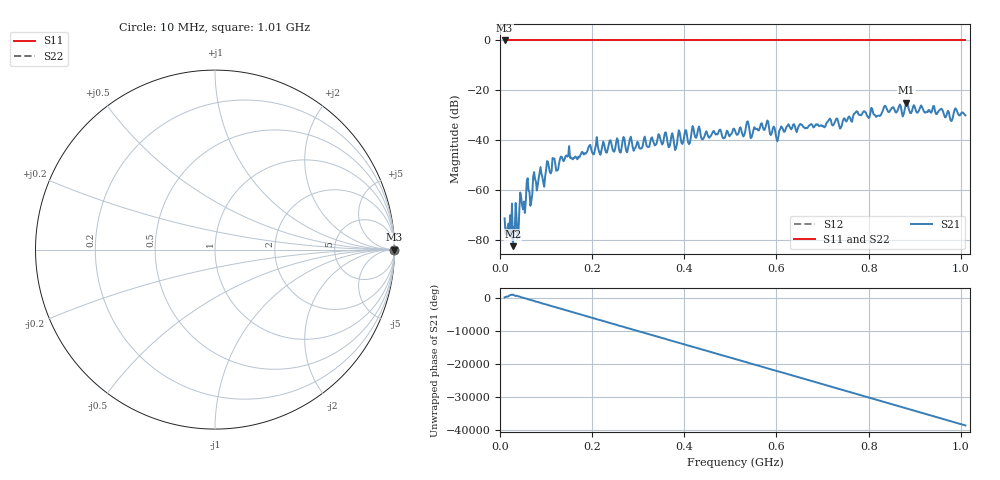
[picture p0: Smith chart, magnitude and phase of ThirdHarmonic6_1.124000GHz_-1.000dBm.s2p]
! 8/16/2025 10:51:22 AM
! C:\ANRITSUVNA\TEMP\TEMP.S2P
! CHANNEL.1
! TR.MEASUREMENT
! RAW.DATA
! RF.CORRECTION.OFF
! AVERAGING.OFF
! IF.BANDWIDTH: 5KHZ
! SWEEPTYPE:  FREQ.SWEEP(Linear)
! Reference Plane Port Info
! PORT:  PORT1  PORT2
! DISTANCE:  0  m  0  m
! TIME:  0  s  0  s
! PHASE.OFFSET:  0  deg.  0  deg.
! LOSS:  0  dB  0  dB
! REF.LOSS:  0  dB  0  dB
! REF.FREQ:  0  Hz  0  Hz
! Power Info
! POWER:  -20  dBm  -20  dBm
! EFF.POWER:  -20  dBm  -20  dBm
! SOURCE.ATTEN:  0  dB  0  dB
! TEST.ATTEN:  0  dB  0  dB
# GHZ S RI R 50.0
! FREQ.GHZ  S11RE  S11IM  S21RE  S21IM  S12RE  S12IM  S22RE  S22IM
!; PortSelection: Port_12
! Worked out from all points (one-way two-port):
!   501 points, 10 MHz to 1.01 GHz, reference 50 ohm
!   highest |S21| = -24.83 dB at 882 MHz (marker M1); lowest = -82.3 dB at 28 MHz (marker M2)
!   lowest |S11| = 0.0 dB at 10 MHz (marker M3)
!   |S11| at or under -10 dB: nowhere
!   |S22| runs from 0.0 to 0.0 dB; largest |S21 - S12| = 1.1
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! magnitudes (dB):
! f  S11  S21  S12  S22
! 10 MHz  0.0  -71.1  0.0  0.0
! 28 MHz  0.0  -82.3  0.0  0.0
! 36 MHz  0.0  -71.3  0.0  0.0
! 46 MHz  0.0  -62.9  0.0  0.0
! 52 MHz  0.0  -64.5  0.0  0.0
! 60 MHz  0.0  -55.1  0.0  0.0
! 66 MHz  0.0  -66.2  0.0  0.0
! 74 MHz  0.0  -52.7  0.0  0.0
! 88 MHz  0.0  -50.7  0.0  0.0
! 94 MHz  0.0  -56.9  0.0  0.0
! 116 MHz  0.0  -47.3  0.0  0.0
! 178 MHz  0.0  -44.6  0.0  0.0
! 344 MHz  0.0  -37.5  0.0  0.0
! 380 MHz  0.0  -43.9  0.0  0.0
! 418 MHz  0.0  -34.3  0.0  0.0
! 510 MHz  0.0  -36.0  0.0  0.0
! 580 MHz  0.0  -32.0  0.0  0.0
! 602 MHz  0.0  -40.3  0.0  0.0
! 678 MHz  0.0  -33.9  0.0  0.0
! 844 MHz  0.0  -28.7  0.0  0.0
! 882 MHz  0.0  -24.8  0.0  0.0
! 1.01 GHz  0.0  -30.0  0.0  0.0
